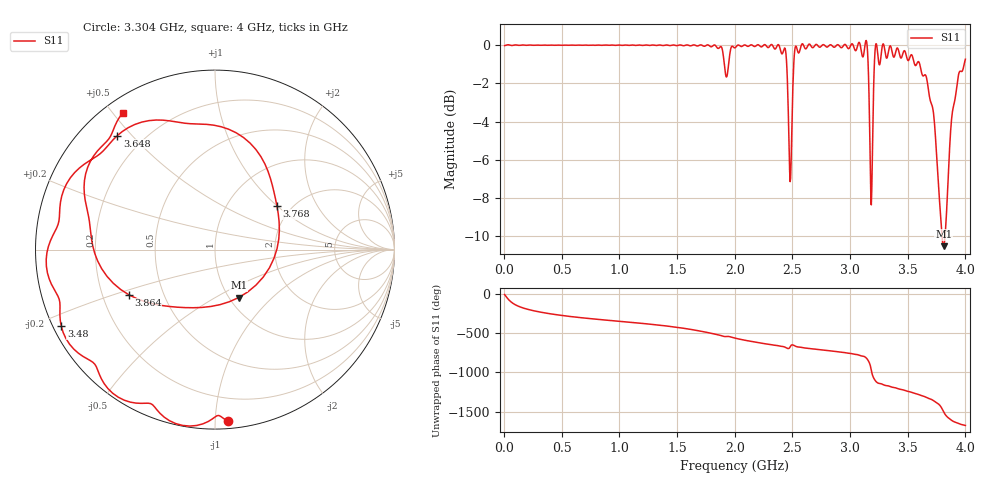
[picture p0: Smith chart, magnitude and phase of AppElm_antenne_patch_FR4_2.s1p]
! TOUCHSTONE file generated by CST MICROWAVE STUDIO
! Date and time: Tue Jun  7 20:03:41 2022
! Project name: AppElm_antenne_patch_FR4.cst
! Parameters = {L=36; W=58.5; e=0.035; h=1.6; lambda=0.190476; ls=120; w0=1.6; w1=0.533333; ws=120; y0=20; y1=23.8095}
! Header version: 2018
! Port assignment regex: !\s*Touchstone port\s*([0-9]+)\s*=\s*(CST MWS port|CST DS port)\s*([0-9]+|Zmin|Zmax)\s*\(\"(.*)\"\)(\s*mode\s*([0-9]+))?.*
! Touchstone port assignment:
! Touchstone port 1 = CST MWS port 1 ("")
# GHz S MA R 50
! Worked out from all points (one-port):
!   1000 points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, 4 MHz to 4 GHz, reference 50 ohm
!   lowest |S11| = -10.5 dB at 3.812 GHz (marker M1), VSWR 1.85, Z = 55.2 - j32.4 ohm
!   |S11| at or under -10 dB: 3.797 GHz to 3.823 GHz (25.95 MHz wide, 0.681 % of centre)
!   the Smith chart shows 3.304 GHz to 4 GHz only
!   S11 on the Smith chart (normalised r, x): 3.304 GHz: 0.05, -1.08; 3.48 GHz: 0.02, -0.24; 3.648 GHz: 0.11, +0.46; 3.768 GHz: 1.68, +1.00; 3.864 GHz: 0.31, -0.22; 4 GHz: 0.05, +0.53
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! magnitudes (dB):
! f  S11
! 4 MHz  0.0
! 504 MHz  0.0
! 1.004 GHz  0.0
! 1.504 GHz  0.0
! 1.872 GHz  -0.1
! 1.928 GHz  -1.7
! 2.004 GHz  -0.1
! 2.428 GHz  -0.2
! 2.444 GHz  -0.5
! 2.48 GHz  -7.1
! 2.504 GHz  -2.2
! 2.52 GHz  -0.3
! 2.536 GHz  -0.1
! 3.004 GHz  0.0
! 3.14 GHz  0.2
! 3.184 GHz  -8.4
! 3.224 GHz  0.1
! 3.304 GHz  -0.4
! 3.48 GHz  -0.4
! 3.504 GHz  -0.8
! 3.648 GHz  -1.6
! 3.72 GHz  -3.4
! 3.768 GHz  -7.5
! 3.812 GHz  -10.5
! 3.832 GHz  -9.2
! 3.864 GHz  -5.3
! 3.932 GHz  -1.9
! 4 GHz  -0.7
